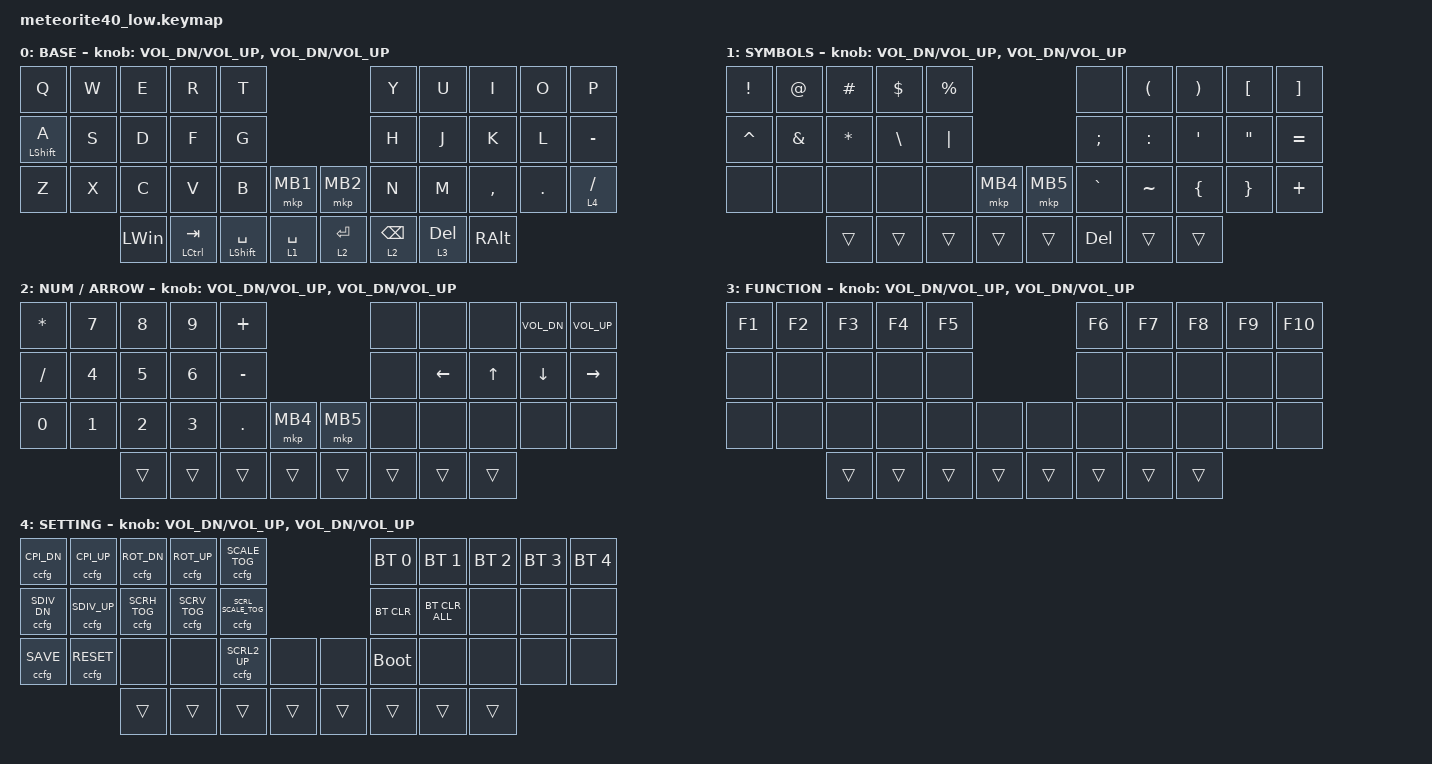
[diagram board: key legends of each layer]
#include <behaviors.dtsi>
#include <dt-bindings/zmk/bt.h>
#include <dt-bindings/zmk/keys.h>

#define ZMK_POINTING_DEFAULT_SCRL_VAL 200
#include <dt-bindings/zmk/pointing.h>

#include <behaviors/custom_config.dtsi>
#include <behaviors/meteorite_custom_key.dtsi>
#include <behaviors/meteorite_bt_os.dtsi>
#include <behaviors/meteorite_mod_key.dtsi>
#include <behaviors/meteorite_os_key.dtsi>
#include <dt-bindings/zmk/custom_config.h>
#include <dt-bindings/zmk/meteorite_custom_keys.h>
#include <dt-bindings/zmk/meteorite_bt_os.h>

&mt { 
    flavor = "tap-preferred"; // change hold to tap
    tapping-term-ms = <200>;
    quick-tap-ms = <150>; // change 200 to 150
	require-prior-idle-ms = <125>;
};

&lt {
    flavor = "tap-preferred";
    tapping-term-ms = <150>; // change 200 to 150
    quick-tap-ms = <150>; // change 200 to 150
};

/ {
    behaviors {
        mck_mt: mck_mt {
            compatible = "zmk,behavior-hold-tap";
            #binding-cells = <2>;
            flavor = "tap-preferred";
            tapping-term-ms = <150>;
            bindings = <&mck>, <&kp>;
            display-name = "meteorite OS-Switch-mod-tap";
        };

        mck_mt_st: mck_mt_st {
            compatible = "zmk,behavior-hold-tap";
            #binding-cells = <2>;
            flavor = "tap-preferred";
            tapping-term-ms = <150>;
            bindings = <&mck>, <&alt_cmd_tab>;
            display-name = "meteorite OS-Switch-mod-tap (smart toggle)";
        };

        alt_cmd_tab: alt_cmd_tab {
            compatible = "zmk,behavior-smart-toggle";
            #binding-cells = <0>;
            display-name = "meteorite Smart toggle (Alt/Cmd+Tab)";
            bindings = <&mck M_OS_ALT_CMD>, <&kp TAB>;
            position-bindings = <12 13>; /* D, F */
            position-binding-behaviors = <&kp LS(TAB)>, <&kp TAB>;
        };

        enc_msc: encoder_mouse_scroll {
            compatible = "zmk,behavior-sensor-rotate-var";
            #sensor-binding-cells = <2>;
            bindings = <&msc>, <&msc>;
            tap-ms = <25>;
            display-name = "Encoder Mouse Scroll";
        };

        enc_kp: encoder_key_press {
            compatible = "zmk,behavior-sensor-rotate-var";
            #sensor-binding-cells = <2>;
            bindings = <&kp>, <&kp>;
            tap-ms = <25>;
            display-name = "Encoder Key Press";
        };

    };

    combos {
        compatible = "zmk,combos";

//		esc {
//			bindings = <&kp ESCAPE>;
//			key-positions = <1 2>; // W + E
//			layers = <0>;
//		};

//        tab {
//            bindings = <&kp TAB>;
//            key-positions = <11 12>; // S + D
//            layers = <0>;
//        };

//        up {
//            bindings = <&kp UP>;
//            key-positions = <7 8>; // I + O
//            layers = <0>;
//        };

//        down {
//            bindings = <&kp DOWN>;
//            key-positions = <29 30>; // , + .
//            layers = <0>;
//        };

//        left {
//            bindings = <&kp LEFT>;
//            key-positions = <16 17>; // J + K
//            layers = <0>;
//        };

//        right {
//            bindings = <&kp RIGHT>;
//            key-positions = <18 19>; // L + -
//            layers = <0>;
//        };
    };

    keymap {
        compatible = "zmk,keymap";
        layout = &LOW_PROFILE_TYPE_B;

        win_default_layer {
            display-name = "BASE";
            bindings = <
                &kp Q        &kp W       &kp E        &kp R        &kp T                                 &kp Y        &kp U       &kp I       &kp O  &kp P
                &mt LSHIFT A &kp S       &kp D        &kp F        &kp G                                 &kp H        &kp J       &kp K       &kp L  &kp MINUS
                &kp Z        &kp X       &kp C        &kp V        &kp B        &mkp MB1     &mkp MB2    &kp N        &kp M       &kp COMMA   &kp DOT  &lt 4 SLASH
                                    &kp LWIN  &mt LCTRL TAB  &mt LSHIFT SPACE  &lt 1 SPACE  &lt 2 ENTER  &lt 2 BSPC  &lt 3 DEL  &kp RALT
            >;
            sensor-bindings =
                <&enc_kp C_VOL_DN C_VOL_UP>,
                <&enc_kp C_VOL_DN C_VOL_UP>;
        };

        layer_1 {
            display-name = "SYMBOLS";
            bindings = <
                &kp EXCL   &kp AT    &kp HASH  &kp DLLR  &kp PRCNT                       &none      &kp LPAR   &kp RPAR   &kp LBKT   &kp RBKT
                &kp CARET  &kp AMPS  &kp STAR  &kp BSLH  &kp PIPE                        &kp SEMI   &kp COLON  &kp SQT    &kp DQT    &kp EQUAL
                &none      &none     &none     &none     &none      &mkp MB4  &mkp MB5   &kp GRAVE  &kp TILDE  &kp LBRC   &kp RBRC   &kp PLUS
                                     &trans     &trans    &trans    &trans    &trans     &kp DEL    &trans     &trans
            >;
            sensor-bindings =
                <&enc_kp C_VOL_DN C_VOL_UP>,
                <&enc_kp C_VOL_DN C_VOL_UP>;
        };

        layer_2 {
            display-name = "NUM / ARROW";
            bindings = <
                &kp ASTRK        &kp N7     &kp N8     &kp N9     &kp PLUS                        &none  &none     &none   &kp C_VOL_DN &kp C_VOL_UP
                &kp SLASH        &kp N4     &kp N5     &kp N6     &kp MINUS                       &none  &kp LEFT  &kp UP  &kp DOWN     &kp RIGHT
                &kp N0           &kp N1     &kp N2     &kp N3     &kp DOT   &mkp MB4   &mkp MB5   &none  &none     &none   &none        &none
                                        &trans           &trans     &trans     &trans    &trans        &trans  &trans    &trans
            >;
            sensor-bindings =
                <&enc_kp C_VOL_DN C_VOL_UP>,
                <&enc_kp C_VOL_DN C_VOL_UP>;
        };

        layer_3 {
            display-name = "FUNCTION";
            bindings = <
                &kp F1  &kp F2  &kp F3  &kp F4  &kp F5                  &kp F6  &kp F7  &kp F8  &kp F9  &kp F10
                &none   &none   &none   &none   &none                   &none   &none   &none   &none   &none
                &none   &none   &none   &none   &none   &none   &none   &none   &none   &none    &none  &none
                                &trans  &trans  &trans  &trans  &trans  &trans  &trans  &trans
            >;
            sensor-bindings =
                <&enc_kp C_VOL_DN C_VOL_UP>,
                <&enc_kp C_VOL_DN C_VOL_UP>;
        };

        layer_4 {
			display-name = "SETTING";
			bindings = <
				&ccfg C_CPI_DN  &ccfg C_CPI_UP  &ccfg C_ROT_DN   &ccfg C_ROT_UP   &ccfg C_SCALE_TOG                        &bt BT_SEL 0   &bt BT_SEL 1    &bt BT_SEL 2  &bt BT_SEL 3  &bt BT_SEL 4
				&ccfg C_SDIV_DN &ccfg C_SDIV_UP &ccfg C_SCRH_TOG &ccfg C_SCRV_TOG &ccfg C_SCRL_SCALE_TOG                   &bt BT_CLR     &bt BT_CLR_ALL  &none         &none         &none
				&ccfg C_SAVE    &ccfg C_RESET   &none            &none            &ccfg C_SCRL2_UP         &none  &none    &bootloader    &none           &none         &none         &none
												                    &trans       &trans  &trans  &trans  &trans  &trans    &trans        &trans
			>;
            sensor-bindings =
                <&enc_kp C_VOL_DN C_VOL_UP>,
                <&enc_kp C_VOL_DN C_VOL_UP>;
        };
    };
};
